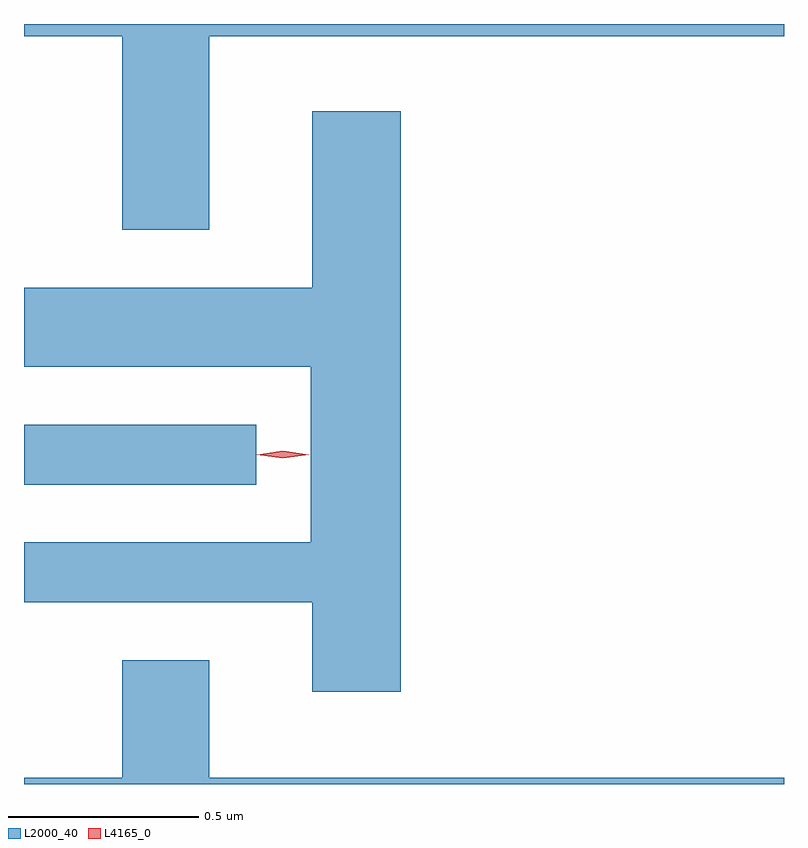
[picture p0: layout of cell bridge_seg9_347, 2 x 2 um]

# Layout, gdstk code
import gdstk
lib = gdstk.Library(unit=1e-6, precision=1e-09)
def R(c, l, rs):  # rectangles x0, y0, x1, y1
    for r in rs: c.add(gdstk.rectangle(r[:2], r[2:], *l))
def P(c, l, *ps):  # polygons
    for p in ps: c.add(gdstk.Polygon(p, *l))
L2000_40 = (2000, 40)
L4165_0 = (4165, 0)

bridge_seg9_347 = lib.new_cell('bridge_seg9_347')
R(bridge_seg9_347, L2000_40, [(724.732,2023.936,725.343,2024.094)])
P(bridge_seg9_347, L2000_40, [(725.219,2025.116),(726.732,2025.116),(726.732,2025.148),(724.732,2025.148),(724.732,2025.116),(724.991,2025.116),(724.991,2024.606),(725.219,2024.606)],
  [(725.724,2024.919),(725.491,2024.919),(725.491,2024.454),(724.732,2024.454),(724.732,2024.246),(725.486,2024.246),(725.486,2023.784),(724.732,2023.784),(724.732,2023.626),(725.491,2023.626),(725.491,2023.391),(725.724,2023.391)],
  [(726.732,2023.164),(725.219,2023.164),(725.219,2023.474),(724.991,2023.474),(724.991,2023.164),(724.732,2023.164),(724.732,2023.148),(726.732,2023.148)])
P(bridge_seg9_347, L4165_0, [(725.413,2024.005),(725.344,2024.014),(725.344,2024.015),(725.344,2024.015),(725.413,2024.025),(725.482,2024.015),(725.482,2024.015),(725.482,2024.014)],
  [(725.413,2024.005),(725.347,2024.014),(725.347,2024.015),(725.347,2024.015),(725.413,2024.025),(725.479,2024.015),(725.48,2024.015),(725.479,2024.014)])

lib.write_gds('bridge_seg9_347.gds')
